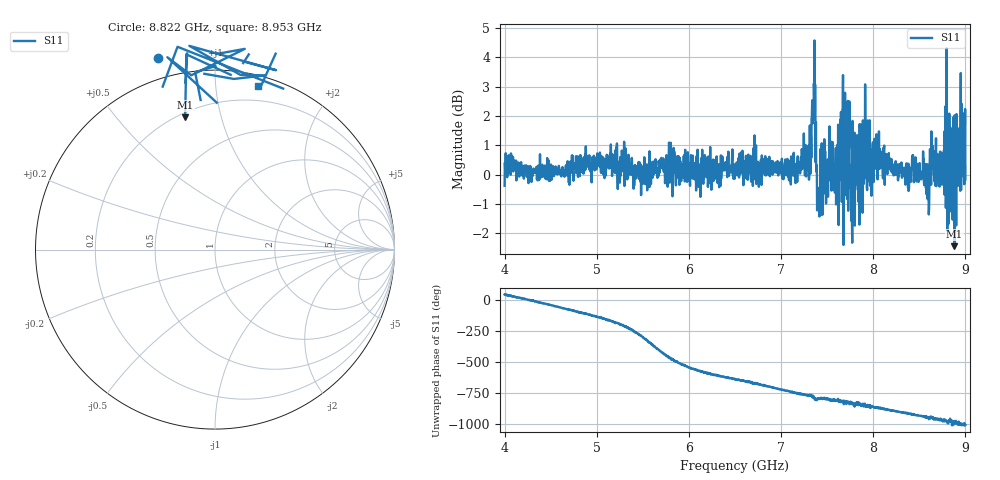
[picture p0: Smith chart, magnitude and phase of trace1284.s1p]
! Created with skrf 1.8.0 (http://scikit-rf.org).
# Hz S RI R 50.0
!freq ReS11 ImS11
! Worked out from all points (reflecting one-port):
!   1601 points, 4 GHz to 9 GHz, reference 50 ohm
!   lowest |S11| = -2.4 dB at 8.881 GHz (marker M1), VSWR 7.16, Z = 11.3 + j38.7 ohm
!   phase of S11 starts at 43 deg and turns -1053 deg over the sweep
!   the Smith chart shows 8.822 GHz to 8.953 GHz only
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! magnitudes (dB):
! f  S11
! 4 GHz  -0.4
! 4.062 GHz  0.2
! 4.625 GHz  0.1
! 5.25 GHz  -0.3
! 5.875 GHz  0.1
! 6.5 GHz  0.2
! 7.125 GHz  0.2
! 7.294 GHz  0.3
! 7.347 GHz  2.4
! 7.362 GHz  4.6
! 7.4 GHz  -0.5
! 7.412 GHz  -0.8
! 7.453 GHz  -0.1
! 7.609 GHz  0.3
! 7.669 GHz  2.3
! 7.703 GHz  -0.7
! 7.75 GHz  0.1
! 7.775 GHz  1.8
! 7.8 GHz  -1.7
! 7.928 GHz  1.2
! 8.375 GHz  0.1
! 8.584 GHz  0.3
! 8.638 GHz  0.3
! 8.766 GHz  0.8
! 8.816 GHz  -1.7
! 8.881 GHz  -2.4
! 8.972 GHz  0.7
! 9 GHz  -0.2
